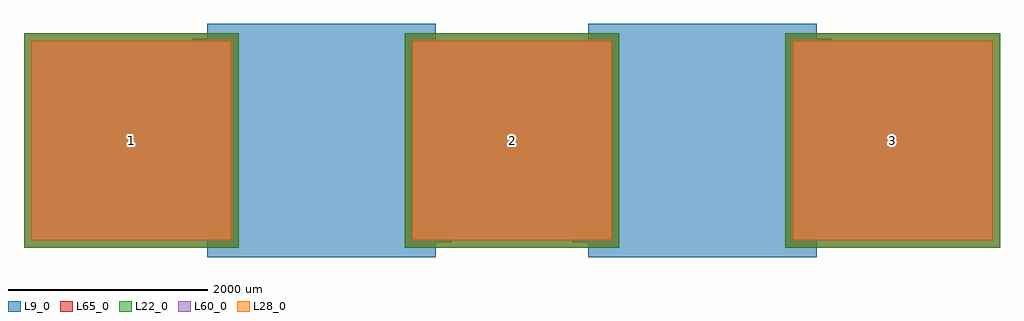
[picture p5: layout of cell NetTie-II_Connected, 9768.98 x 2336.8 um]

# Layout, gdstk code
import gdstk
lib = gdstk.Library(unit=1e-6, precision=1e-09)
def R(c, l, rs):  # rectangles x0, y0, x1, y1
    for r in rs: c.add(gdstk.rectangle(r[:2], r[2:], *l))
def A(c, l, x, y, w, h, nx, ny, dx, dy):  # array of equal rectangles
    R(c, l, [(x+i*dx, y+j*dy, x+i*dx+w, y+j*dy+h) for i in range(nx) for j in range(ny)])
L9_0 = (9, 0)
L22_0 = (22, 0)
L28_0 = (28, 0)
L60_0 = (60, 0)
L65_0 = (65, 0)

nettie_ii_connected = lib.new_cell('NetTie-II_Connected')
A(nettie_ii_connected, L22_0, -4884.49, -1074.49, 2148.98, 2148.98, 3, 1, 3810, 0)
A(nettie_ii_connected, L28_0, -4809.49, -999.49, 1998.98, 1998.98, 3, 1, 3810, 0)
A(nettie_ii_connected, L60_0, -4809.49, -999.49, 1998.98, 1998.98, 3, 1, 3810, 0)
A(nettie_ii_connected, L65_0, -4884.49, -1074.49, 2148.98, 2148.98, 3, 1, 3810, 0)
nettie_ii_connected.add(gdstk.FlexPath([(-3048,1016),(-762,1016)], 304.8, ends="flush", simple_path=True, layer=9, datatype=0))  # L9_0
nettie_ii_connected.add(gdstk.FlexPath([(-3048,762),(-3048,1016)], 304.8, ends="flush", simple_path=True, layer=9, datatype=0))  # L9_0
nettie_ii_connected.add(gdstk.FlexPath([(-762,762),(-3048,762)], 304.8, ends="flush", simple_path=True, layer=9, datatype=0))  # L9_0
nettie_ii_connected.add(gdstk.FlexPath([(-762,508),(-762,762)], 304.8, ends="flush", simple_path=True, layer=9, datatype=0))  # L9_0
nettie_ii_connected.add(gdstk.FlexPath([(-3048,508),(-762,508)], 304.8, ends="flush", simple_path=True, layer=9, datatype=0))  # L9_0
nettie_ii_connected.add(gdstk.FlexPath([(-3048,254),(-3048,508)], 304.8, ends="flush", simple_path=True, layer=9, datatype=0))  # L9_0
nettie_ii_connected.add(gdstk.FlexPath([(-762,254),(-3048,254)], 304.8, ends="flush", simple_path=True, layer=9, datatype=0))  # L9_0
nettie_ii_connected.add(gdstk.FlexPath([(-762,0),(-762,254)], 304.8, ends="flush", simple_path=True, layer=9, datatype=0))  # L9_0
nettie_ii_connected.add(gdstk.FlexPath([(-3048,0),(-762,0)], 304.8, ends="flush", simple_path=True, layer=9, datatype=0))  # L9_0
nettie_ii_connected.add(gdstk.FlexPath([(-3048,-254),(-3048,0)], 304.8, ends="flush", simple_path=True, layer=9, datatype=0))  # L9_0
nettie_ii_connected.add(gdstk.FlexPath([(-762,-254),(-3048,-254)], 304.8, ends="flush", simple_path=True, layer=9, datatype=0))  # L9_0
nettie_ii_connected.add(gdstk.FlexPath([(-762,-508),(-762,-254)], 304.8, ends="flush", simple_path=True, layer=9, datatype=0))  # L9_0
nettie_ii_connected.add(gdstk.FlexPath([(-3048,-508),(-762,-508)], 304.8, ends="flush", simple_path=True, layer=9, datatype=0))  # L9_0
nettie_ii_connected.add(gdstk.FlexPath([(-3048,-762),(-3048,-508)], 304.8, ends="flush", simple_path=True, layer=9, datatype=0))  # L9_0
nettie_ii_connected.add(gdstk.FlexPath([(-762,-762),(-3048,-762)], 304.8, ends="flush", simple_path=True, layer=9, datatype=0))  # L9_0
nettie_ii_connected.add(gdstk.FlexPath([(-762,-1016),(-762,-762)], 304.8, ends="flush", simple_path=True, layer=9, datatype=0))  # L9_0
nettie_ii_connected.add(gdstk.FlexPath([(-3048,-1016),(-762,-1016)], 304.8, ends="flush", simple_path=True, layer=9, datatype=0))  # L9_0
nettie_ii_connected.add(gdstk.FlexPath([(762,-1016),(3048,-1016)], 304.8, ends="flush", simple_path=True, layer=9, datatype=0))  # L9_0
nettie_ii_connected.add(gdstk.FlexPath([(762,-762),(762,-1016)], 304.8, ends="flush", simple_path=True, layer=9, datatype=0))  # L9_0
nettie_ii_connected.add(gdstk.FlexPath([(3048,-762),(762,-762)], 304.8, ends="flush", simple_path=True, layer=9, datatype=0))  # L9_0
nettie_ii_connected.add(gdstk.FlexPath([(3048,-508),(3048,-762)], 304.8, ends="flush", simple_path=True, layer=9, datatype=0))  # L9_0
nettie_ii_connected.add(gdstk.FlexPath([(762,-508),(3048,-508)], 304.8, ends="flush", simple_path=True, layer=9, datatype=0))  # L9_0
nettie_ii_connected.add(gdstk.FlexPath([(762,-254),(762,-508)], 304.8, ends="flush", simple_path=True, layer=9, datatype=0))  # L9_0
nettie_ii_connected.add(gdstk.FlexPath([(3048,-254),(762,-254)], 304.8, ends="flush", simple_path=True, layer=9, datatype=0))  # L9_0
nettie_ii_connected.add(gdstk.FlexPath([(3048,0),(3048,-254)], 304.8, ends="flush", simple_path=True, layer=9, datatype=0))  # L9_0
nettie_ii_connected.add(gdstk.FlexPath([(762,0),(3048,0)], 304.8, ends="flush", simple_path=True, layer=9, datatype=0))  # L9_0
nettie_ii_connected.add(gdstk.FlexPath([(762,254),(762,0)], 304.8, ends="flush", simple_path=True, layer=9, datatype=0))  # L9_0
nettie_ii_connected.add(gdstk.FlexPath([(3048,254),(762,254)], 304.8, ends="flush", simple_path=True, layer=9, datatype=0))  # L9_0
nettie_ii_connected.add(gdstk.FlexPath([(3048,508),(3048,254)], 304.8, ends="flush", simple_path=True, layer=9, datatype=0))  # L9_0
nettie_ii_connected.add(gdstk.FlexPath([(762,508),(3048,508)], 304.8, ends="flush", simple_path=True, layer=9, datatype=0))  # L9_0
nettie_ii_connected.add(gdstk.FlexPath([(762,762),(762,508)], 304.8, ends="flush", simple_path=True, layer=9, datatype=0))  # L9_0
nettie_ii_connected.add(gdstk.FlexPath([(3048,762),(762,762)], 304.8, ends="flush", simple_path=True, layer=9, datatype=0))  # L9_0
nettie_ii_connected.add(gdstk.FlexPath([(3048,1016),(3048,762)], 304.8, ends="flush", simple_path=True, layer=9, datatype=0))  # L9_0
nettie_ii_connected.add(gdstk.FlexPath([(762,1016),(3048,1016)], 304.8, ends="flush", simple_path=True, layer=9, datatype=0))  # L9_0
nettie_ii_connected.add(gdstk.FlexPath([(-3048,1016),(-762,1016)], 304.8, ends="flush", simple_path=True, layer=9, datatype=0))  # L9_0
nettie_ii_connected.add(gdstk.FlexPath([(-3048,762),(-3048,1016)], 304.8, ends="flush", simple_path=True, layer=9, datatype=0))  # L9_0
nettie_ii_connected.add(gdstk.FlexPath([(-762,762),(-3048,762)], 304.8, ends="flush", simple_path=True, layer=9, datatype=0))  # L9_0
nettie_ii_connected.add(gdstk.FlexPath([(-762,508),(-762,762)], 304.8, ends="flush", simple_path=True, layer=9, datatype=0))  # L9_0
nettie_ii_connected.add(gdstk.FlexPath([(-3048,508),(-762,508)], 304.8, ends="flush", simple_path=True, layer=9, datatype=0))  # L9_0
nettie_ii_connected.add(gdstk.FlexPath([(-3048,254),(-3048,508)], 304.8, ends="flush", simple_path=True, layer=9, datatype=0))  # L9_0
nettie_ii_connected.add(gdstk.FlexPath([(-762,254),(-3048,254)], 304.8, ends="flush", simple_path=True, layer=9, datatype=0))  # L9_0
nettie_ii_connected.add(gdstk.FlexPath([(-762,0),(-762,254)], 304.8, ends="flush", simple_path=True, layer=9, datatype=0))  # L9_0
nettie_ii_connected.add(gdstk.FlexPath([(-3048,0),(-762,0)], 304.8, ends="flush", simple_path=True, layer=9, datatype=0))  # L9_0
nettie_ii_connected.add(gdstk.FlexPath([(-3048,-254),(-3048,0)], 304.8, ends="flush", simple_path=True, layer=9, datatype=0))  # L9_0
nettie_ii_connected.add(gdstk.FlexPath([(-762,-254),(-3048,-254)], 304.8, ends="flush", simple_path=True, layer=9, datatype=0))  # L9_0
nettie_ii_connected.add(gdstk.FlexPath([(-762,-508),(-762,-254)], 304.8, ends="flush", simple_path=True, layer=9, datatype=0))  # L9_0
nettie_ii_connected.add(gdstk.FlexPath([(-3048,-508),(-762,-508)], 304.8, ends="flush", simple_path=True, layer=9, datatype=0))  # L9_0
nettie_ii_connected.add(gdstk.FlexPath([(-3048,-762),(-3048,-508)], 304.8, ends="flush", simple_path=True, layer=9, datatype=0))  # L9_0
nettie_ii_connected.add(gdstk.FlexPath([(-762,-762),(-3048,-762)], 304.8, ends="flush", simple_path=True, layer=9, datatype=0))  # L9_0
nettie_ii_connected.add(gdstk.FlexPath([(-762,-1016),(-762,-762)], 304.8, ends="flush", simple_path=True, layer=9, datatype=0))  # L9_0
nettie_ii_connected.add(gdstk.FlexPath([(-3048,-1016),(-762,-1016)], 304.8, ends="flush", simple_path=True, layer=9, datatype=0))  # L9_0
nettie_ii_connected.add(gdstk.FlexPath([(762,-1016),(3048,-1016)], 304.8, ends="flush", simple_path=True, layer=9, datatype=0))  # L9_0
nettie_ii_connected.add(gdstk.FlexPath([(762,-762),(762,-1016)], 304.8, ends="flush", simple_path=True, layer=9, datatype=0))  # L9_0
nettie_ii_connected.add(gdstk.FlexPath([(3048,-762),(762,-762)], 304.8, ends="flush", simple_path=True, layer=9, datatype=0))  # L9_0
nettie_ii_connected.add(gdstk.FlexPath([(3048,-508),(3048,-762)], 304.8, ends="flush", simple_path=True, layer=9, datatype=0))  # L9_0
nettie_ii_connected.add(gdstk.FlexPath([(762,-508),(3048,-508)], 304.8, ends="flush", simple_path=True, layer=9, datatype=0))  # L9_0
nettie_ii_connected.add(gdstk.FlexPath([(762,-254),(762,-508)], 304.8, ends="flush", simple_path=True, layer=9, datatype=0))  # L9_0
nettie_ii_connected.add(gdstk.FlexPath([(3048,-254),(762,-254)], 304.8, ends="flush", simple_path=True, layer=9, datatype=0))  # L9_0
nettie_ii_connected.add(gdstk.FlexPath([(3048,0),(3048,-254)], 304.8, ends="flush", simple_path=True, layer=9, datatype=0))  # L9_0
nettie_ii_connected.add(gdstk.FlexPath([(762,0),(3048,0)], 304.8, ends="flush", simple_path=True, layer=9, datatype=0))  # L9_0
nettie_ii_connected.add(gdstk.FlexPath([(762,254),(762,0)], 304.8, ends="flush", simple_path=True, layer=9, datatype=0))  # L9_0
nettie_ii_connected.add(gdstk.FlexPath([(3048,254),(762,254)], 304.8, ends="flush", simple_path=True, layer=9, datatype=0))  # L9_0
nettie_ii_connected.add(gdstk.FlexPath([(3048,508),(3048,254)], 304.8, ends="flush", simple_path=True, layer=9, datatype=0))  # L9_0
nettie_ii_connected.add(gdstk.FlexPath([(762,508),(3048,508)], 304.8, ends="flush", simple_path=True, layer=9, datatype=0))  # L9_0
nettie_ii_connected.add(gdstk.FlexPath([(762,762),(762,508)], 304.8, ends="flush", simple_path=True, layer=9, datatype=0))  # L9_0
nettie_ii_connected.add(gdstk.FlexPath([(3048,762),(762,762)], 304.8, ends="flush", simple_path=True, layer=9, datatype=0))  # L9_0
nettie_ii_connected.add(gdstk.FlexPath([(3048,1016),(3048,762)], 304.8, ends="flush", simple_path=True, layer=9, datatype=0))  # L9_0
nettie_ii_connected.add(gdstk.FlexPath([(762,1016),(3048,1016)], 304.8, ends="flush", simple_path=True, layer=9, datatype=0))  # L9_0
nettie_ii_connected.add(gdstk.Label('3', (3810,0), layer=28, texttype=0))
nettie_ii_connected.add(gdstk.Label('2', (0,0), layer=28, texttype=0))
nettie_ii_connected.add(gdstk.Label('1', (-3810,0), layer=28, texttype=0))
nettie_ii_connected.add(gdstk.Label('type', (0,3048), layer=9, texttype=0))
nettie_ii_connected.add(gdstk.Label('devicename', (-40.64,-4069.08), layer=9, texttype=0))

lib.write_gds('NetTie-II_Connected.gds')
